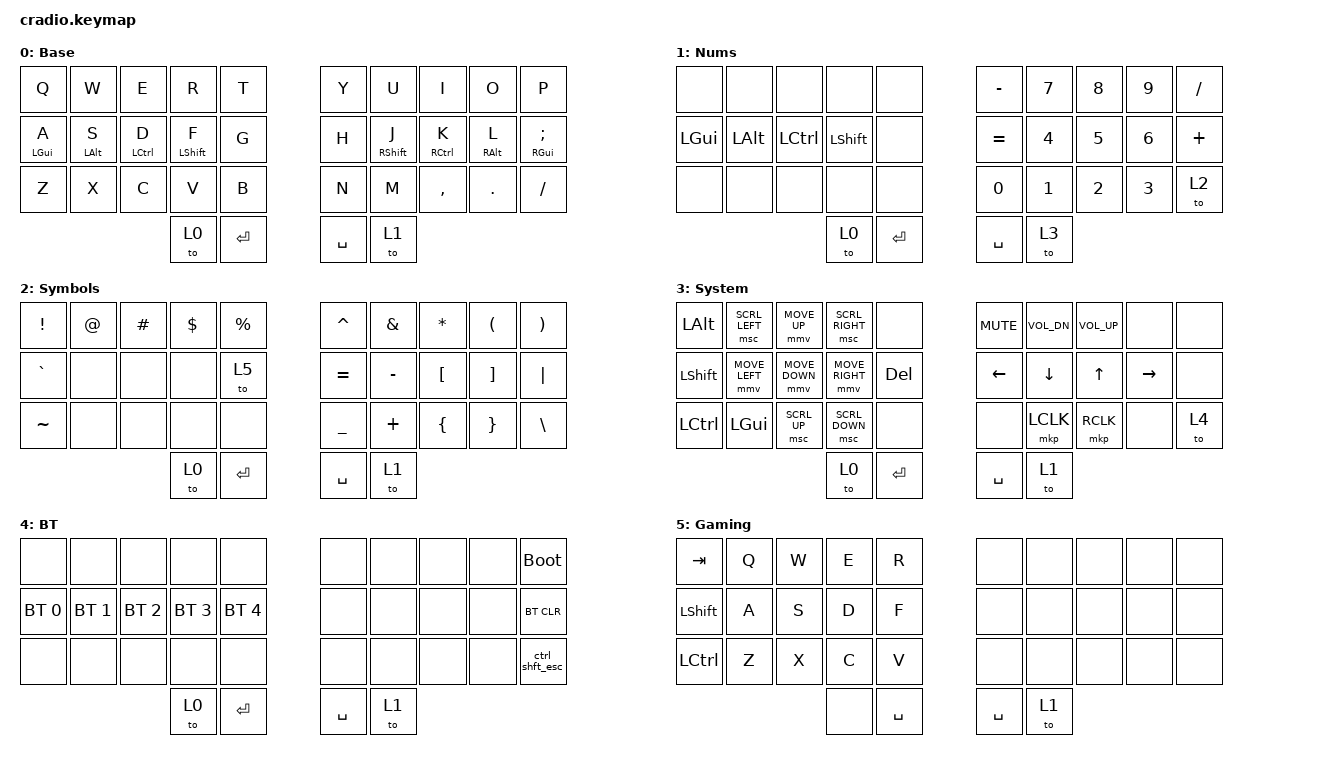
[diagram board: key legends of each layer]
/*
 * Copyright (c) 2020 The ZMK Contributors
 *
 * SPDX-License-Identifier: MIT
 */

#include <behaviors.dtsi>
#include <dt-bindings/zmk/keys.h>
#include <dt-bindings/zmk/bt.h>
#include <dt-bindings/zmk/mouse.h>
#include <behaviors/mouse_move.dtsi>
#include <behaviors/mouse_scroll.dtsi>

//////////////////////////////////////////////////////////////////////
// NOTE: Use the `#define` settings below to customize this keymap! //
// You can override them here instead of modifying them down there. //
// /* EXAMPLE: */  #define EMOJI_HAIR_STYLE_PRESET 3 // curly_hair  //
//////////////////////////////////////////////////////////////////////
//
// Sunaku's Keymap v30 -- "Glorious Engrammer"
// - https://github.com/sunaku/glove80-keymaps
//
//////////////////////////////////////////////////////////////////////

/ {
        behaviors {

                //////////////////////////////////////////////////////////////////////////
                //
                // Miryoku layers and home row mods (ported from my QMK endgame)
                // - https://sunaku.github.io/home-row-mods.html#porting-to-zmk
                // - https://github.com/urob/zmk-config#timeless-homerow-mods
                //
                //////////////////////////////////////////////////////////////////////////

                //
                // HOMEY_HOLDING_TYPE defines the flavor of ZMK hold-tap behavior to use
                // for the pinky, ring, and middle fingers (which are assigned to Super,
                // Alt, and Ctrl respectively in the Miryoku system) on home row keys.
                //
                #ifndef HOMEY_HOLDING_TYPE
                #define HOMEY_HOLDING_TYPE "tap-preferred"
                #endif

                //
                // HOMEY_HOLDING_TIME defines how long you need to hold (milliseconds)
                // home row mod keys in order to send their modifiers to the computer
                // (i.e. "register" them) for mod-click mouse usage (e.g. Ctrl-Click).
                //
                #ifndef HOMEY_HOLDING_TIME
                #define HOMEY_HOLDING_TIME 270 // TAPPING_TERM + ALLOW_CROSSOVER_AFTER
                #endif

                //
                // HOMEY_STREAK_DECAY defines how long you need to wait (milliseconds)
                // after typing before you can use home row mods again.  It prevents
                // unintended activation of home row mods when you're actively typing.
                //
                #ifndef HOMEY_STREAK_DECAY
                #define HOMEY_STREAK_DECAY 170 // global-quick-tap-ms
                #endif

                //
                // HOMEY_REPEAT_DECAY defines how much time you have left (milliseconds)
                // after tapping a key to hold it again in order to make it auto-repeat.
                //
                #ifndef HOMEY_REPEAT_DECAY
                #define HOMEY_REPEAT_DECAY 300 // "tap then hold" for key auto-repeat
                #endif

                //
                // SHIFT_HOLDING_TYPE defines the flavor of ZMK hold-tap behavior to use
                // for index fingers (which Miryoku assigns to Shift) on home row keys.
                //
                // NOTE: The "tap-preferred" flavor of ZMK hold-tap for index finger keys
                // allows faster activation of the Shift modifier (without having to wait
                // for the modified key to be released as the "balanced" flavor requires).
                // Typing streaks and the `hold-trigger-on-release` setting are disabled
                // for the index fingers so as not to hinder their speed and dexterity.
                //
                #ifndef SHIFT_HOLDING_TYPE
                #define SHIFT_HOLDING_TYPE "tap-preferred"
                #endif

                //
                // SHIFT_HOLDING_TIME defines how long you need to hold (milliseconds)
                // index finger keys in order to send their modifiers to the computer
                // (i.e. "register" them) for mod-click mouse usage (e.g. Shift-Click).
                //
                // CAUTION: You'll need to perform inward rolls from pinky->ring->middle
                // fingers toward the index fingers when activating multiple modifiers
                // because `hold-trigger-on-release` is disabled for the index fingers.
                // Otherwise, you may be surprised that the index fingers' modifier is
                // sent immediately without the rest of your multi-mod chord when you
                // perform outward rolls from your index fingers toward your pinkies.
                //
                #ifndef SHIFT_HOLDING_TIME
                #define SHIFT_HOLDING_TIME 170
                #endif

                //
                // SHIFT_STREAK_DECAY defines how long you need to wait (milliseconds)
                // after typing before you can use home row mods again.  It prevents
                // unintended activation of home row mods when you're actively typing.
                //
                #ifndef SHIFT_STREAK_DECAY
                #define SHIFT_STREAK_DECAY 70 // global-quick-tap-ms
                #endif

                //
                // SHIFT_REPEAT_DECAY defines how much time you have left (milliseconds)
                // after tapping a key to hold it again in order to make it auto-repeat.
                //
                #ifndef SHIFT_REPEAT_DECAY
                #define SHIFT_REPEAT_DECAY 300 // "tap then hold" for key auto-repeat
                #endif

                //
                // THUMB_HOLDING_TYPE defines the flavor of ZMK hold-tap behavior to use
                // for the thumbs (which are assigned to 6 layers in the Miryoku system).
                //
                // NOTE: The "balanced" flavor of ZMK hold-tap provides instant modifier
                // activation for the symbol layer (if the tapped symbol key is released
                // while the thumb layer key is still held down) for quicker programming.
                //
                #ifndef THUMB_HOLDING_TYPE
                #define THUMB_HOLDING_TYPE "balanced"
                #endif

                //
                // THUMB_HOLDING_TIME defines how long you need to hold (milliseconds)
                // a thumb key to activate a layer.  Shorter holds are treated as taps.
                //
                #ifndef THUMB_HOLDING_TIME
                #define THUMB_HOLDING_TIME 200
                #endif

                //
                // THUMB_REPEAT_DECAY defines how much time you have left (milliseconds)
                // after tapping a key to hold it again in order to make it auto-repeat.
                //
                #ifndef THUMB_REPEAT_DECAY
                #define THUMB_REPEAT_DECAY 300 // "tap then hold" for key auto-repeat
                #endif

                //
                // SPACE_HOLDING_TIME defines how long you need to hold (milliseconds)
                // the space thumb key to activate.  Shorter holds are treated as taps.
                //
                #ifndef SPACE_HOLDING_TIME
                #define SPACE_HOLDING_TIME 170
                #endif

                //
                // SPACE_REPEAT_DECAY defines how much time you have left (milliseconds)
                // after tapping a key to hold it again in order to make it auto-repeat.
                //
                #ifndef SPACE_REPEAT_DECAY
                #define SPACE_REPEAT_DECAY 200 // "tap then hold" for key auto-repeat
                #endif

                //
                // Corne key positions index for positional hold-tap
                // - https://discord.com/channels/877392805654306816/937645688244826154/1066713913351221248
                // - https://media.discordapp.net/attachments/937645688244826154/1066713913133121556/image.png
                //
                // |--------------------|--------------------|
                // | LEFT_HAND_KEYS     |    RIGHT_HAND_KEYS |
                // |                    |                    |
                // |  0  1  2  3  4     |     5  6  7  8  9  |
                // | 10 11 12 13 14     |    15 16 17 18 19  |
                // | 20 21 22 23 24     |    25 26 27 28 29  |
                // |          30 31     |    32 33           |
                // |--------------------|--------------------|
                //
                #define LEFT_HAND_KEYS      \
                         0  1  2  3  4      \
                        10 11 12 13 14      \
                        20 21 22 23 24      \
                #define RIGHT_HAND_KEYS     \
                                          5  6  7  8  9 \
                                         15 16 17 18 19 \
                                         25 26 27 28 29 \
                #define THUMB_KEYS          \
                                 30 31   32 33           \

                //
                // Home row mod-tap keys for all except index fingers
                //
                hml: sweep_home_row_mods_left_hand {
                        compatible = "zmk,behavior-hold-tap";
                        label = "HOME_ROW_MODS_LEFT_HAND";
                        flavor = HOMEY_HOLDING_TYPE;
                        hold-trigger-key-positions = <5  6  7  8  9
                                                     15 16 17 18 19
                                                     25 26 27 28 29>;
                        hold-trigger-on-release; // wait for other home row mods
                        tapping-term-ms = <HOMEY_HOLDING_TIME>;
                        quick-tap-ms = <HOMEY_REPEAT_DECAY>;
                        require-prior-idle-ms = <HOMEY_STREAK_DECAY>;
                        #binding-cells = <2>;
                        bindings = <&kp>, <&kp>;
                };
                 hmr: sweep_home_row_mods_right_hand {
                        compatible = "zmk,behavior-hold-tap";
                        label = "HOME_ROW_MODS_RIGHT_HAND";
                        flavor = HOMEY_HOLDING_TYPE;
                        hold-trigger-key-positions = <0  1  2  3  4
                                                     10 11 12 13 14
                                                     20 21 22 23 24>;
                        hold-trigger-on-release; // wait for other home row mods
                        tapping-term-ms = <HOMEY_HOLDING_TIME>;
                        quick-tap-ms = <HOMEY_REPEAT_DECAY>;
                        require-prior-idle-ms = <HOMEY_STREAK_DECAY>;
                        #binding-cells = <2>;
                        bindings = <&kp>, <&kp>;
                 };

                //
                // Special home row mod-tap keys for the index fingers
                //
                shl: sweep_home_row_mods_left_shift_shift {
                        compatible = "zmk,behavior-hold-tap";
                        label = "HOME_ROW_MODS_LEFT_SHIFT_SHIFT";
                        flavor = SHIFT_HOLDING_TYPE;
                        hold-trigger-key-positions = <5  6  7  8  9
                                                     15 16 17 18 19
                                                     25 26 27 28 29>;
                        //hold-trigger-on-release; // don't wait for other mods
                        tapping-term-ms = <SHIFT_HOLDING_TIME>;
                        quick-tap-ms = <SHIFT_REPEAT_DECAY>;
                        require-prior-idle-ms = <SHIFT_STREAK_DECAY>;
                        #binding-cells = <2>;
                        bindings = <&kp>, <&kp>;
                };
                shr: sweep_home_row_mods_right_shift_shift {
                        compatible = "zmk,behavior-hold-tap";
                        label = "HOME_ROW_MODS_RIGHT_SHIFT_SHIFT";
                        flavor = SHIFT_HOLDING_TYPE;
                        hold-trigger-key-positions = <0  1  2  3  4
                                                     10 11 12 13 14
                                                     20 21 22 23 24>;
                        //hold-trigger-on-release; // don't wait for other mods
                        tapping-term-ms = <SHIFT_HOLDING_TIME>;
                        quick-tap-ms = <SHIFT_REPEAT_DECAY>;
                        require-prior-idle-ms = <SHIFT_STREAK_DECAY>;
                        #binding-cells = <2>;
                        bindings = <&kp>, <&kp>;
                };
        };

        macros {
                ctrl_shft_esc: ctrl_shft_esc {
                        compatible = "zmk,behavior-macro";
                        #binding-cells = <0>;
                        bindings
                                = <&macro_press &kp LCTRL &kp LSHFT>
                                , <&macro_tap &kp ESC>
                                , <&macro_release &kp LCTRL &kp LSHFT>
                                ;
                        };
                };

        combos {
                compatible = "zmk,combos";
                combo_tab {
                        timeout-ms = <50>;
                        key-positions = <0 1 >;
                        bindings = <&kp TAB>;
                        layers = <0 1 2 3>;
                };
                combo_bspc {
                        timeout-ms = <50>;
                        key-positions = <8 9>;
                        bindings = <&kp BSPC>;
                        layers = <0 1 2 3>;
                };
                combo_sqt {
                        timeout-ms = <50>;
                        key-positions = <18 19>;
                        bindings = <&kp SQT>;
                        layers = <0>;
                };
                combo_star {
                        timeout-ms = <50>;
                        key-positions = <18 19>;
                        bindings = <&kp STAR>;
                        layers = <1>;
                };
                combo_esc {
                        timeout-ms = <50>;
                        key-positions = <28 29>;
                        bindings = <&kp ESC>;
                        layers = <0 3>;
                };
                combo_esc_gaming {
                        timeout-ms = <50>;
                        key-positions = <0 1>;
                        bindings = <&kp ESC>;
                        layers = <5>;
                };
        };

        keymap {
                compatible = "zmk,keymap";

                default_layer {
// -----------------------------------------------------------------------------------------
//      TAB                                                 BSPC
// |  Q  |  W  |  E  |  R  |  T  |   |  Y  |  U  |  I  |  O  |  P  |
//
//                                                           '
// |  A  |  S  |  D  |  F  |  G  |   |  H  |  J  |  K  |  L  |  ;  |
//
//                                                          ESC
// |  Z  |  X  |  C  |  V  |  B  |   |  N  |  M  |  ,  |  .  |  /  |
//                   | L-0 | ENT |   | SPC | L-1 |
                        label = "Base";
                        bindings = <
   &kp Q       &kp W       &kp E        &kp R         &kp T     &kp Y      &kp U         &kp I        &kp O       &kp P
   &hml LGUI A &hml LALT S &hml LCTRL D &shl LSHIFT F &kp G     &kp H      &shr RSHIFT J &hmr RCTRL K &hmr RALT L &hmr RGUI SEMI
   &kp Z       &kp X       &kp C        &kp V         &kp B     &kp N      &kp M         &kp COMMA    &kp DOT     &kp FSLH
                                       &to 0         &kp RET   &kp SPACE  &to 1
                        >;
                };

                nums_layer {
// -----------------------------------------------------------------------------------------
//      TAB                                                 BSPC
// |     |     |     |     |     |   |  -  |  7  |  8  |  9  |  /  |
//
//                                                           *
// |     |     |     |     |     |   |  =  |  4  |  5  |  6  |  +  |
// |     |     |     |     |     |   |  0  |  1  |  2  |  3  | L-2 |
//                   | L-0 | ENT |   | SPC | L-3 |
                        label = "Nums";
                        bindings = <
   &none    &none    &none     &none     &none     &kp MINUS &kp N7 &kp N8 &kp N9 &kp FSLH
   &kp LGUI &kp LALT &kp LCTRL &kp LSHFT &none     &kp EQUAL &kp N4 &kp N5 &kp N6 &kp PLUS
   &none    &none    &none     &none     &none     &kp N0    &kp N1 &kp N2 &kp N3 &to 2
                               &to 0     &kp RET   &kp SPACE &to 3
                        >;
                };

                syms_layer {
// -----------------------------------------------------------------------------------------
//      TAB                                                 BSPC
// |  !  |  @  |  #  |  $  |  %  |   |  ^  |  &  |  *  |  (  |  )  |
// |  `  |     |     |     | L-5 |   |  =  |  -  |  [  |  ]  | "|" |
// |  ~  |     |     |     |     |   |  _  |  +  |  {  |  }  |  \  |
//                   | L-0 | ENT |   | SPC | L-1 |
                        label = "Symbols";
                        bindings = <
   &kp EXCL  &kp AT &kp HASH &kp DLLR &kp PRCNT   &kp CARET &kp AMPS  &kp STAR &kp LPAR &kp RPAR
   &kp GRAVE &none  &none    &none    &to 5       &kp EQUAL &kp MINUS &kp LBKT &kp RBKT &kp PIPE
   &kp TILDE &none  &none    &none    &none       &kp UNDER &kp PLUS  &kp LBRC &kp RBRC &kp BSLH
                             &to 0    &kp RET     &kp SPACE &to 1
                        >;
                };

                sys_layer {
// -----------------------------------------------------------------------------------------
//      TAB                                                       BSPC
// | LALT  | SCRL |  MSU | SCRR |     |   | MUTE | VOLD | VOLU |     |     |
// | LSHFT |  MSL |  MSD | MSR  | DEL |   |  LFT |  DWN |   UP | RGT |     |
// | LCTRL | LGUI | SCRU | SCRD |     |   |      | LCLK | RCLK |     | L-4 |
//                     |  L-0 | ENT |   |  SPC |  L-1 |
                        label = "System";
                        bindings = <
   &kp LALT   &msc SCRL_LEFT &mmv MOVE_UP   &msc SCRL_RIGHT &none     &kp C_MUTE &kp C_VOL_DN &kp C_VOL_UP &none     &none
   &kp LSHFT  &mmv MOVE_LEFT &mmv MOVE_DOWN &mmv MOVE_RIGHT &kp DEL   &kp LEFT   &kp DOWN     &kp UP       &kp RIGHT &none
   &kp LCTRL  &kp LGUI       &msc SCRL_UP   &msc SCRL_DOWN  &none     &none      &mkp LCLK    &mkp RCLK    &none     &to 4
                                        &to 0           &kp RET   &kp SPACE  &to 1
                        >;
                };

                bt_layer{
// -----------------------------------------------------------------------------------------
// |     |     |     |     |     |   |     |     |     |     | BOOT          |
// | BT1 | BT2 | BT3 | BT4 | BT5 |   |     |     |     |     | BTCLR         |
// |     |     |     |     |     |   |     |     |     |     | CTRL-SHFT-ESC |
//                   | L-0 | ENT |   | SPC | L-1 |
                        label = "BT";
                        bindings = <
   &none        &none        &none        &none        &none          &none     &none &none &none &bootloader
   &bt BT_SEL 0 &bt BT_SEL 1 &bt BT_SEL 2 &bt BT_SEL 3 &bt BT_SEL 4   &none     &none &none &none &bt BT_CLR
   &none        &none        &none        &none        &none          &none     &none &none &none &ctrl_shft_esc
                                          &to 0        &kp RET        &kp SPACE &to 1
                        >;
                };

                gaming_layer{
// -----------------------------------------------------------------------------------------
//       ESC
// |  TAB |  Q  |  W  |  E  |  R  |   |     |     |     |     |     |
// | SHFT |  A  |  S  |  D  |  F  |   |     |     |     |     |     |
// | CTRL |  Z  |  X  |  C  |  V  |   |     |     |     |     |     |
//                    |     | SPC |   | SPC | L-1 |
                        label = "Gaming";
                        bindings = <
   &kp TAB   &kp Q &kp W &kp E &kp R     &none      &none &none &none &none
   &kp LSHFT &kp A &kp S &kp D &kp F     &none      &none &none &none &none
   &kp LCTRL &kp Z &kp X &kp C &kp V     &none      &none &none &none &none
                         &none &kp SPACE &kp SPACE  &to 1
                        >;
                };
        };
};
